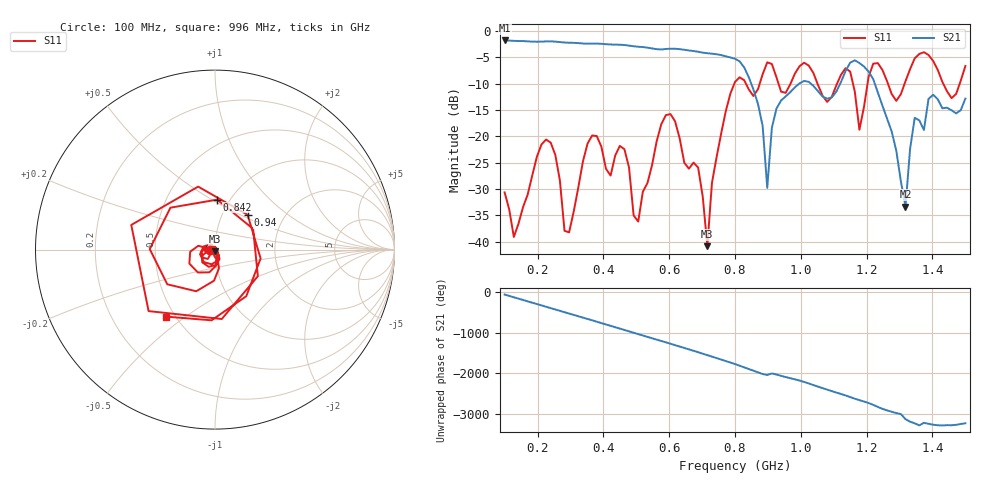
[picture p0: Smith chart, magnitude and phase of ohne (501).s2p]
! NanoVNA-App
! Date: 2025-09-25 14:24:42
! Start: 100MHz Stop: 1,5GHz Points: 101
! S-Parameter data: F S11 S21 S12 S22
# Hz S RI R 50
!  Frequency  S11_Real  S11_Imag  S21_Real  S21_Imag  S12_Real  S12_Imag  S22_Real  S22_Imag
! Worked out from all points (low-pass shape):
!   101 points, 100 MHz to 1.5 GHz, reference 50 ohm
!   highest |S21| = -1.79 dB at 100 MHz (marker M1); lowest = -33.3 dB at 1.318 GHz (marker M2)
!   |S21| within 3 dB of the highest: start of sweep to 771.2 MHz
!   lowest |S11| = -40.8 dB at 716 MHz (marker M3), VSWR 1.02, Z = 49.7 - j0.864 ohm
!   |S11| at or under -10 dB: start of sweep to 797.9 MHz; 833.2 MHz to 875.1 MHz (41.86 MHz wide, 4.9 % of centre); 1.051 GHz to 1.11 GHz (59.4 MHz wide, 5.5 % of centre) (the widest 3 of 7)
!   S12 and S22 are empty: the file has one direction only
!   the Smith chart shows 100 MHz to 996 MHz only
!   S11 on the Smith chart (normalised r, x): 100 MHz: 0.94, -0.01; 842 MHz: 0.88, +0.53; 940 MHz: 1.31, +0.55; 996 MHz: 0.45, -0.42
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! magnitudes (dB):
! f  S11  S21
! 100 MHz  -30.6  -1.8
! 128 MHz  -39.1  -1.9
! 226 MHz  -20.6  -2.0
! 296 MHz  -38.2  -2.2
! 338 MHz  -24.7  -2.4
! 464 MHz  -22.4  -2.7
! 506 MHz  -36.2  -3.0
! 576 MHz  -17.7  -3.5
! 688 MHz  -25.9  -3.9
! 716 MHz  -40.8  -4.2
! 800 MHz  -9.7  -5.3
! 842 MHz  -11.1  -8.8
! 898 MHz  -5.9  -29.8
! 940 MHz  -11.5  -13.2
! 996 MHz  -6.7  -10.0
! 1.038 GHz  -7.9  -10.4
! 1.178 GHz  -18.7  -6.1
! 1.22 GHz  -6.2  -9.1
! 1.276 GHz  -12.0  -19.1
! 1.318 GHz  -9.5  -33.3
! 1.346 GHz  -5.2  -16.5
! 1.5 GHz  -6.6  -12.8
